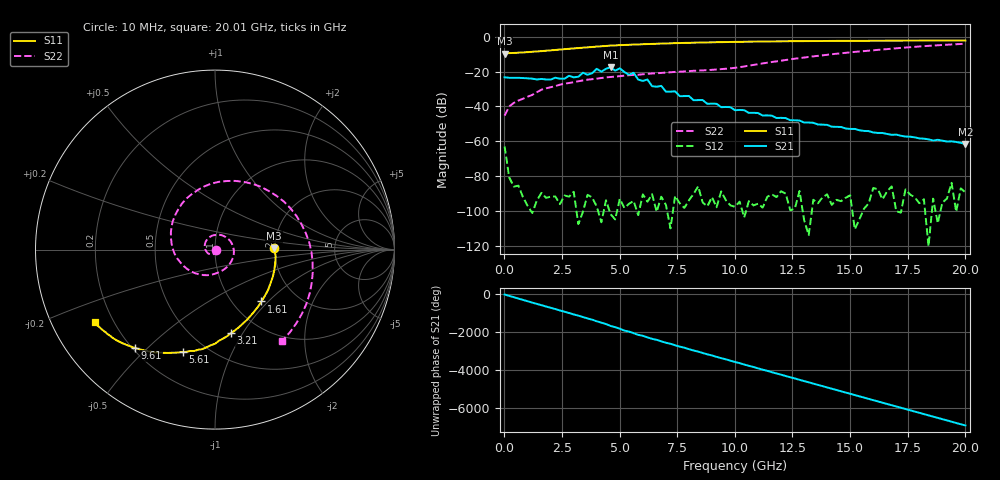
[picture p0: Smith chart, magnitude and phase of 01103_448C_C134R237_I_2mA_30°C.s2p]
!;Filter: kein Filter
!auto
!3/21/2019 9:26:52 AM
!3/21/2019 9:27:07 AM
!SP-Measurements Prober G4
!SP-Measurements Prober G4
!01103_448C
!134
!237
!12
!30
!-20
!0.00199954
!1.75
!0.22129449
!0.22129449
# Hz S  RI  R 50
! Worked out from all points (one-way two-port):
!   101 points, 10 MHz to 20.01 GHz, reference 50 ohm
!   highest |S21| = -17.47 dB at 4.61 GHz (marker M1); lowest = -61.6 dB at 20.01 GHz (marker M2)
!   lowest |S11| = -9.7 dB at 10 MHz (marker M3), VSWR 1.98, Z = 99 + j1.74 ohm
!   |S11| at or under -10 dB: nowhere
!   |S22| runs from -45.2 to -4.0 dB; largest |S21 - S12| = 0.13
!   S11 on the Smith chart (normalised r, x): 10 MHz: 1.98, +0.03; 1.61 GHz: 1.34, -0.91; 3.21 GHz: 0.74, -0.89; 5.61 GHz: 0.37, -0.67; 9.61 GHz: 0.21, -0.46; 20.01 GHz: 0.13, -0.27
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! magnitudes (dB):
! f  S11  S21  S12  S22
! 10 MHz  -9.7  -23.2  -62.9  -45.2
! 210 MHz  -9.4  -23.5  -80.7  -40.0
! 1.61 GHz  -8.2  -24.2  -89.6  -30.4
! 3.21 GHz  -6.5  -22.9  -107.5  -25.5
! 3.41 GHz  -6.2  -20.6  -100.4  -25.0
! 3.61 GHz  -6.0  -21.8  -90.7  -24.6
! 4.01 GHz  -5.6  -18.4  -97.4  -24.0
! 4.21 GHz  -5.5  -20.0  -106.5  -23.7
! 4.61 GHz  -5.0  -17.5  -101.8  -23.1
! 5.41 GHz  -4.6  -21.8  -95.9  -22.1
! 5.61 GHz  -4.5  -20.6  -94.2  -21.9
! 5.81 GHz  -4.4  -24.6  -102.4  -21.8
! 6.21 GHz  -4.2  -24.5  -94.7  -21.3
! 6.41 GHz  -4.1  -28.4  -90.3  -21.1
! 6.81 GHz  -3.9  -28.2  -91.8  -20.7
! 7.01 GHz  -3.8  -31.5  -96.4  -20.5
! 7.41 GHz  -3.7  -31.3  -91.4  -20.2
! 9.61 GHz  -3.0  -40.3  -93.7  -18.3
! 10.01 GHz  -2.9  -42.1  -97.6  -17.8
! 13.41 GHz  -2.4  -49.4  -93.5  -11.2
! 16.81 GHz  -2.2  -56.3  -85.8  -6.8
! 20.01 GHz  -2.2  -61.6  -89.4  -4.0
